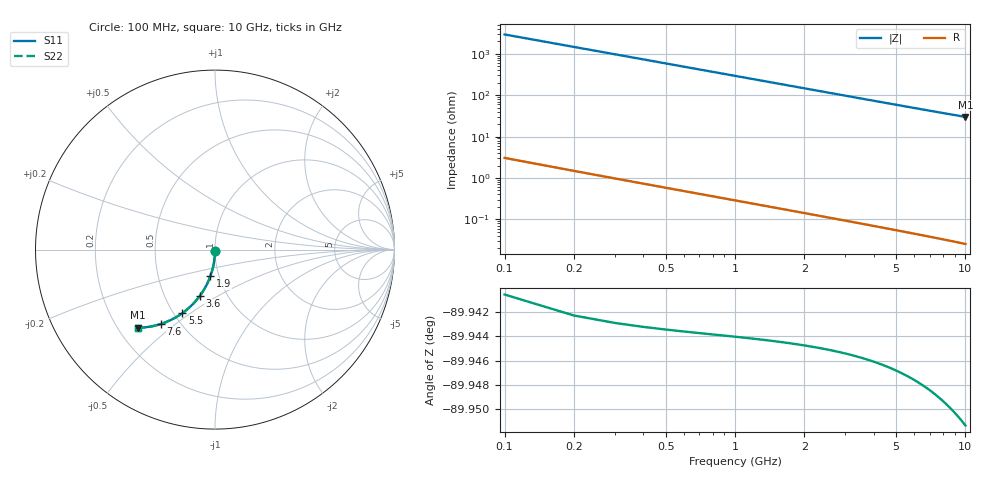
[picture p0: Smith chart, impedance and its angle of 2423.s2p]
# Hz S RI R 50.00
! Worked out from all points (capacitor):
!   100 points, 100 MHz to 10 GHz, reference 50 ohm
!   read as one part in shunt: C = 541 fF near 100 MHz
!   lowest |Z| = 30 ohm at 10 GHz (marker M1)
!   S11 on the Smith chart (normalised r, x): 100 MHz: 1.00, -0.02; 1.9 GHz: 0.91, -0.27; 3.6 GHz: 0.74, -0.42; 5.5 GHz: 0.55, -0.47; 7.6 GHz: 0.40, -0.44; 10 GHz: 0.28, -0.39
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1e8  6.59e-05 -0.00791  0.9998 -0.00907  0.9998 -0.00907  6.59e-05 -0.00791
2e8  -0.000157 -0.0158  0.9995 -0.0181  0.9995 -0.0181  -0.000157 -0.0158
3e8  -0.000523 -0.0237  0.9992 -0.0272  0.9992 -0.0272  -0.000523 -0.0237
4e8  -0.00103 -0.0316  0.9987 -0.0363  0.9987 -0.0363  -0.00103 -0.0316
5e8  -0.00169 -0.0395  0.998 -0.0453  0.998 -0.0453  -0.00169 -0.0395
6e8  -0.00248 -0.0474  0.9972 -0.0543  0.9972 -0.0543  -0.00248 -0.0474
8e8  -0.0045 -0.063  0.9952 -0.0723  0.9952 -0.0723  -0.0045 -0.063
1.1e9  -0.00857 -0.0863  0.991 -0.0991  0.991 -0.0991  -0.00857 -0.0863
1.4e9  -0.0139 -0.1093  0.9857 -0.1255  0.9857 -0.1255  -0.0139 -0.1093
1.8e9  -0.0228 -0.1392  0.9766 -0.1601  0.9766 -0.1601  -0.0228 -0.1392
1.9e9  -0.0254 -0.1466  0.9741 -0.1687  0.9741 -0.1687  -0.0254 -0.1466
2.2e9  -0.0338 -0.1683  0.9656 -0.1938  0.9656 -0.1938  -0.0338 -0.1683
2.6e9  -0.0467 -0.1962  0.9525 -0.2264  0.9525 -0.2264  -0.0467 -0.1962
3.4e9  -0.0776 -0.2481  0.9213 -0.2877  0.9213 -0.2877  -0.0776 -0.2481
3.6e9  -0.0863 -0.2601  0.9125 -0.3021  0.9125 -0.3021  -0.0863 -0.2601
4.3e9  -0.1191 -0.2992  0.8793 -0.3495  0.8793 -0.3495  -0.1191 -0.2992
5.1e9  -0.1604 -0.3376  0.8374 -0.3974  0.8374 -0.3974  -0.1604 -0.3376
5.5e9  -0.1822 -0.3542  0.8154 -0.4188  0.8154 -0.4188  -0.1822 -0.3542
6.7e9  -0.2499 -0.3939  0.7466 -0.473  0.7466 -0.473  -0.2499 -0.3939
7.6e9  -0.3013 -0.4142  0.6943 -0.5043  0.6943 -0.5043  -0.3013 -0.4142
8.4e9  -0.3463 -0.4262  0.6484 -0.5261  0.6484 -0.5261  -0.3463 -0.4262
1e10  -0.4315 -0.4353  0.5609 -0.5553  0.5609 -0.5553  -0.4315 -0.4353
